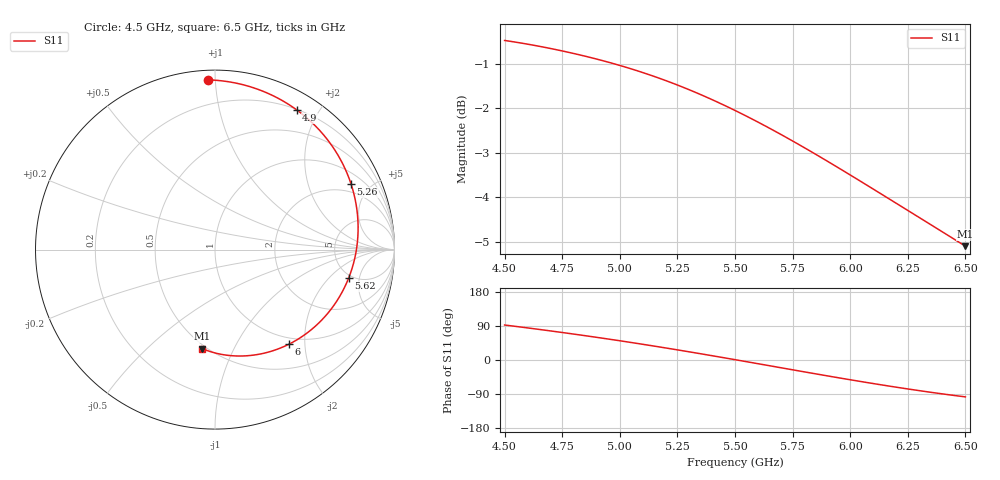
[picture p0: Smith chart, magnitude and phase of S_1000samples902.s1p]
! TOUCHSTONE file generated by CST MICROWAVE STUDIO
! Date and time: Sat Oct 29 18:13:32 2022
! Project name: L.cst
! Parameters = {Di=1.27; Epsilon_r=1.56; InnerDiameter=1.27; Length=2; Lf=10; Lg=60; OuterConductorThickness=0.2921; OuterDiameter=3.6; Wf=3; Wp=41.2; de=1.5; df=6.8; g=0.8; gx=1.71059; gy=4.19888; h=2.34; hf=1.524; px=10.3812; py=8.50636; w=9.7; wx=8.67064; wy=4.30747}
! Header version: 2018
! Port assignment regex: !\s*Touchstone port\s*([0-9]+)\s*=\s*(CST MWS port|CST DS port)\s*([0-9]+|Zmin|Zmax)\s*\(\"(.*)\"\)(\s*mode\s*([0-9]+))?.*
! Touchstone port assignment:
! Touchstone port 1 = CST MWS port 1 ("")
# GHz S DB R 50
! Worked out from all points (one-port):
!   101 points, 4.5 GHz to 6.5 GHz, reference 50 ohm
!   lowest |S11| = -5.1 dB at 6.5 GHz (marker M1), VSWR 3.51, Z = 23.8 - j38 ohm
!   |S11| at or under -10 dB: nowhere
!   S11 on the Smith chart (normalised r, x): 4.5 GHz: 0.05, +0.96; 4.9 GHz: 0.21, +1.72; 5.26 GHz: 1.52, +3.81; 5.62 GHz: 4.68, -3.51; 6 GHz: 0.88, -1.69; 6.5 GHz: 0.48, -0.76
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4.5  -0.48 92.3
4.58  -0.54 86.2
4.64  -0.60 81.5
4.76  -0.73 71.7
4.84  -0.82 65.0
4.9  -0.90 59.8
5  -1.04 50.8
5.08  -1.17 43.3
5.14  -1.27 37.6
5.2  -1.38 31.7
5.26  -1.50 25.7
5.32  -1.63 19.6
5.38  -1.76 13.5
5.44  -1.90 7.2
5.5  -2.05 0.9
5.56  -2.20 -5.5
5.62  -2.37 -11.9
5.68  -2.53 -18.4
5.76  -2.76 -26.9
5.88  -3.12 -39.7
5.94  -3.31 -46.0
6  -3.50 -52.1
6.06  -3.69 -58.2
6.12  -3.88 -64.1
6.18  -4.07 -69.9
6.26  -4.32 -77.3
6.38  -4.71 -87.8
6.5  -5.09 -97.3
